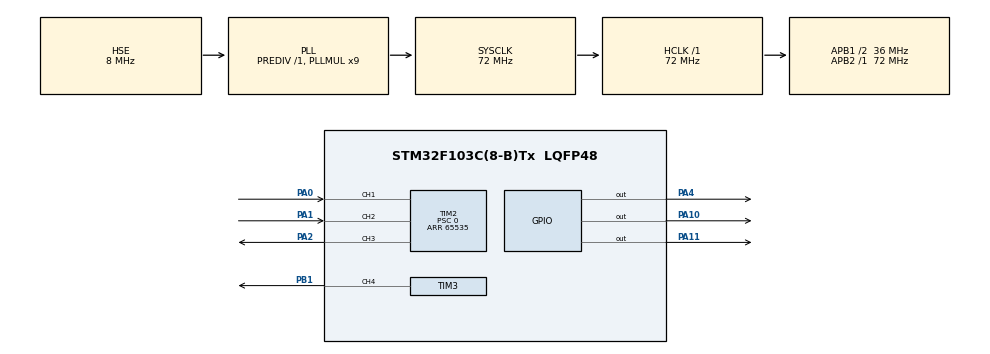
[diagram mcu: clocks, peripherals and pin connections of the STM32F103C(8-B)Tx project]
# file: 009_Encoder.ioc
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Mcu.Family=STM32F1
Mcu.Name=STM32F103C(8-B)Tx
Mcu.Package=LQFP48
NVIC.PriorityGroup=NVIC_PRIORITYGROUP_4
PA0-WKUP.Signal=S_TIM2_CH1_ETR
PA1.Signal=S_TIM2_CH2
PA10.Signal=GPIO_Output
PA11.Signal=GPIO_Output
PA13.Mode=Serial_Wire
PA13.Signal=SYS_JTMS-SWDIO
PA14.Mode=Serial_Wire
PA14.Signal=SYS_JTCK-SWCLK
PA2.Signal=S_TIM2_CH3
PA4.Signal=GPIO_Output
PB1.Signal=S_TIM3_CH4
PD0-OSC_IN.Mode=HSE-External-Oscillator
PD0-OSC_IN.Signal=RCC_OSC_IN
PD1-OSC_OUT.Mode=HSE-External-Oscillator
PD1-OSC_OUT.Signal=RCC_OSC_OUT
ProjectManager.HeapSize=0x200
ProjectManager.StackSize=0x400
ProjectManager.TargetToolchain=MDK-ARM V5.32
RCC.AHBFreq_Value=72000000
RCC.APB1CLKDivider=RCC_HCLK_DIV2
RCC.APB1Freq_Value=36000000
RCC.APB1TimFreq_Value=72000000
RCC.APB2Freq_Value=72000000
RCC.APB2TimFreq_Value=72000000
RCC.HCLKFreq_Value=72000000
RCC.PLLMUL=RCC_PLL_MUL9
RCC.PLLSourceVirtual=RCC_PLLSOURCE_HSE
RCC.SYSCLKFreq_VALUE=72000000
RCC.SYSCLKSource=RCC_SYSCLKSOURCE_PLLCLK
RCC.USBFreq_Value=72000000
SH.S_TIM2_CH1_ETR.0=TIM2_CH1,Encoder_Interface
SH.S_TIM2_CH2.0=TIM2_CH2,Encoder_Interface
SH.S_TIM2_CH3.0=TIM2_CH3,PWM Generation3 CH3
SH.S_TIM3_CH4.0=TIM3_CH4,PWM Generation4 CH4
TIM2.Channel-PWM\ Generation3\ CH3=TIM_CHANNEL_3
TIM2.EncoderMode=TIM_ENCODERMODE_TI12
TIM2.Period=65535
TIM2.Prescaler=0
TIM3.Channel-PWM\ Generation4\ CH4=TIM_CHANNEL_4
TIM3.Period=7200
board=custom

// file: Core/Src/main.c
/* USER CODE BEGIN Header */
/**
  ******************************************************************************
  * @file           : main.c
  * @brief          : Main program body
  ******************************************************************************
  * @attention
  *
  * Copyright (c) 2023 STMicroelectronics.
  * All rights reserved.
  *
  * This software is licensed under terms that can be found in the LICENSE file
  * in the root directory of this software component.
  * If no LICENSE file comes with this software, it is provided AS-IS.
  *
  ******************************************************************************
  */
/* USER CODE END Header */
#include "main.h"
#include "tim.h"
#include "gpio.h"

/* USER CODE BEGIN PV */
	int16_t GetData;//编码器数值
	int Direction;//编码器方向
/* USER CODE END PV */

void SystemClock_Config(void);
/* USER CODE BEGIN PFP */
int16_t get_speed()
{
	int16_t speed=(int16_t)__HAL_TIM_GET_COUNTER(&htim2);
	__HAL_TIM_SET_COUNTER(&htim2,0);
	return speed;
}

typedef struct
{
	float kp;
	float ki;
	float kd;
	int32_t output;
	int16_t current;
	int16_t last;
	int16_t expect;
	float I;
}pid_t;

pid_t pid_motor1;

void pid_calc(pid_t* T) //
{
	float P,I,D;
	P=T->kp*(T->expect-T->current);
	T->I+=T->ki*(T->expect-T->current);
	D=T->kd*(T->current-T->last);

	T->output=(int32_t)(P+T->I+D);
}

void turn(int32_t input)
{
	if(input>0)
	{
		HAL_GPIO_WritePin(GPIOA,GPIO_PIN_10,0);
	  HAL_GPIO_WritePin(GPIOA,GPIO_PIN_11,1);
		TIM3->CCR4=(uint16_t)input;
	}
	else
	{
		HAL_GPIO_WritePin(GPIOA,GPIO_PIN_10,1);
	  HAL_GPIO_WritePin(GPIOA,GPIO_PIN_11,0);
		TIM3->CCR4=(uint16_t)(-input);
	}
}

void PID_Cal(pid_t* T) //增量式
{
	short Error = T->expect - T->current;
	static short Error_last = 0,Error_prev = 0;
	short pwm_add=0;
	pwm_add = T->kp*(Error - Error_last) + T->ki*Error + T->kd*(Error-2.0f*Error_last+Error_prev);
	T->I+=T->ki*Error;

	Error_prev = Error_last;	  	    // 保存上上次误差
  Error_last = Error;	              // 保存上次偏差

	T->output=pwm_add;
}
//blog.csdn.net/QWQ_DIODA/article/details/116519580

int32_t Main_output=0;
/* USER CODE END PFP */

int main(void)
{

  /* MCU Configuration--------------------------------------------------------*/

  /* Reset of all peripherals, Initializes the Flash interface and the Systick. */
  HAL_Init();

  /* Configure the system clock */
  SystemClock_Config();

  /* Initialize all configured peripherals */
  MX_GPIO_Init();
  MX_TIM2_Init();
  MX_TIM3_Init();
  /* USER CODE BEGIN 2 */
	HAL_TIM_Encoder_Start(&htim2, TIM_CHANNEL_ALL);

	HAL_TIM_PWM_Start (&htim3,TIM_CHANNEL_4 );

	HAL_GPIO_WritePin(GPIOA,GPIO_PIN_10,0);
	HAL_GPIO_WritePin(GPIOA,GPIO_PIN_11,1);

	HAL_GPIO_WritePin(GPIOA,GPIO_PIN_4,1);
  TIM3->CCR4=0;

	pid_motor1.kp=80;
	pid_motor1.ki=10;
	pid_motor1.kd=0;
	pid_motor1.expect=15;

  /* USER CODE END 2 */

  /* Infinite loop */
  /* USER CODE BEGIN WHILE */
  while (1)
  {
		GetData = get_speed();
		//Direction = __HAL_TIM_IS_TIM_COUNTING_DOWN(&htim2);		// 是否向下计数
		HAL_Delay(9);

		pid_motor1.current=GetData;

		//pid_calc(&pid_motor1);
		PID_Cal(&pid_motor1);

		Main_output+=pid_motor1.output;

		if(Main_output>7199) Main_output=7199;
		else if(Main_output<-7199) Main_output=-7199;

		turn(Main_output);

		//turn(pid_motor1.output);

	  //pid_motor1.last=GetData;

    /* USER CODE END WHILE */

  }
}

void SystemClock_Config(void)
{
  RCC_OscInitTypeDef RCC_OscInitStruct = {0};
  RCC_ClkInitTypeDef RCC_ClkInitStruct = {0};

  /** Initializes the RCC Oscillators according to the specified parameters
  * in the RCC_OscInitTypeDef structure.
  */
  RCC_OscInitStruct.OscillatorType = RCC_OSCILLATORTYPE_HSE;
  RCC_OscInitStruct.HSEState = RCC_HSE_ON;
  RCC_OscInitStruct.HSEPredivValue = RCC_HSE_PREDIV_DIV1;
  RCC_OscInitStruct.HSIState = RCC_HSI_ON;
  RCC_OscInitStruct.PLL.PLLState = RCC_PLL_ON;
  RCC_OscInitStruct.PLL.PLLSource = RCC_PLLSOURCE_HSE;
  RCC_OscInitStruct.PLL.PLLMUL = RCC_PLL_MUL9;
  if (HAL_RCC_OscConfig(&RCC_OscInitStruct) != HAL_OK)
  {
    Error_Handler();
  }

  /** Initializes the CPU, AHB and APB buses clocks
  */
  RCC_ClkInitStruct.ClockType = RCC_CLOCKTYPE_HCLK|RCC_CLOCKTYPE_SYSCLK
                              |RCC_CLOCKTYPE_PCLK1|RCC_CLOCKTYPE_PCLK2;
  RCC_ClkInitStruct.SYSCLKSource = RCC_SYSCLKSOURCE_PLLCLK;
  RCC_ClkInitStruct.AHBCLKDivider = RCC_SYSCLK_DIV1;
  RCC_ClkInitStruct.APB1CLKDivider = RCC_HCLK_DIV2;
  RCC_ClkInitStruct.APB2CLKDivider = RCC_HCLK_DIV1;

  if (HAL_RCC_ClockConfig(&RCC_ClkInitStruct, FLASH_LATENCY_2) != HAL_OK)
  {
    Error_Handler();
  }
}

void Error_Handler(void)
{
  __disable_irq();
  while (1)
  {
  }
}
